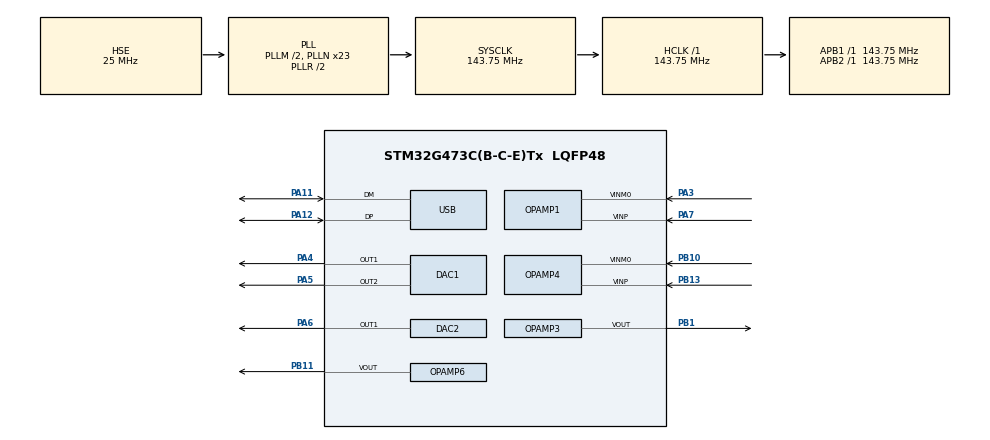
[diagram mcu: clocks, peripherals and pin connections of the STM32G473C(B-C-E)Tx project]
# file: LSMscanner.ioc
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ADC1.Channel-1\#ChannelRegularConversion=ADC_CHANNEL_VOPAMP1
ADC1.NbrOfConversionFlag=1
ADC1.OffsetNumber-1\#ChannelRegularConversion=ADC_OFFSET_NONE
ADC1.Rank-1\#ChannelRegularConversion=1
ADC1.SamplingTime-1\#ChannelRegularConversion=ADC_SAMPLETIME_2CYCLES_5
ADC1.master=1
ADC5.Channel-1\#ChannelRegularConversion=ADC_CHANNEL_VOPAMP4
ADC5.NbrOfConversionFlag=1
ADC5.OffsetNumber-1\#ChannelRegularConversion=ADC_OFFSET_NONE
ADC5.Rank-1\#ChannelRegularConversion=1
ADC5.SamplingTime-1\#ChannelRegularConversion=ADC_SAMPLETIME_2CYCLES_5
DAC1.DAC_Channel-DAC_OUT2=DAC_CHANNEL_2
DAC3.DAC_Channel-DAC_OUT2_Int=DAC_CHANNEL_2
Mcu.Family=STM32G4
Mcu.Name=STM32G473C(B-C-E)Tx
Mcu.Package=LQFP48
NVIC.PriorityGroup=NVIC_PRIORITYGROUP_4
NVIC.USB_LP_IRQn=true\:0\:0\:false\:false\:true\:false\:true\:true
PA11.Mode=Device
PA11.Signal=USB_DM
PA12.Mode=Device
PA12.Signal=USB_DP
PA13.Mode=Trace_Asynchronous_SW
PA13.Signal=SYS_JTMS-SWDIO
PA14.Mode=Trace_Asynchronous_SW
PA14.Signal=SYS_JTCK-SWCLK
PA3.Mode=PGA Internally connected_IO0_BIAS
PA3.Signal=OPAMP1_VINM0
PA4.Signal=COMP_DAC11_group
PA5.Signal=COMP_DAC12_group
PA6.Signal=COMP_DAC21_group
PA7.Mode=PGA Internally connected_IO0_BIAS
PA7.Signal=OPAMP1_VINP
PB1.Mode=Follower-DAC_OUT2-INP
PB1.Signal=OPAMP3_VOUT
PB10.Mode=PGA Internally connected_IO0_BIAS
PB10.Signal=OPAMP4_VINM0
PB11.Mode=Follower-DAC_OUT2-INP
PB11.Signal=OPAMP6_VOUT
PB13.Mode=PGA Internally connected_IO0_BIAS
PB13.Signal=OPAMP4_VINP
PB3.Mode=Trace_Asynchronous_SW
PB3.Signal=SYS_JTDO-SWO
PF0-OSC_IN.Mode=HSE-External-Oscillator
PF0-OSC_IN.Signal=RCC_OSC_IN
PF1-OSC_OUT.Mode=HSE-External-Oscillator
PF1-OSC_OUT.Signal=RCC_OSC_OUT
ProjectManager.HeapSize=0x200
ProjectManager.StackSize=0x400
ProjectManager.TargetToolchain=STM32CubeIDE
RCC.ADC12Freq_Value=143750000
RCC.ADC345Freq_Value=143750000
RCC.AHBFreq_Value=143750000
RCC.APB1Freq_Value=143750000
RCC.APB1TimFreq_Value=143750000
RCC.APB2Freq_Value=143750000
RCC.APB2TimFreq_Value=143750000
RCC.CortexFreq_Value=143750000
RCC.EXTERNAL_CLOCK_VALUE=12288000
RCC.HCLKFreq_Value=143750000
RCC.HSE_VALUE=25000000
RCC.HSI48_VALUE=48000000
RCC.HSI_VALUE=16000000
RCC.LSE_VALUE=32768
RCC.PLLM=RCC_PLLM_DIV2
RCC.PLLN=23
RCC.PLLQ=RCC_PLLQ_DIV6
RCC.PLLSourceVirtual=RCC_PLLSOURCE_HSE
RCC.SYSCLKFreq_VALUE=143750000
RCC.SYSCLKSource=RCC_SYSCLKSOURCE_PLLCLK
RCC.USBFreq_Value=47916666.666666664
RCC.VCOOutputFreq_Value=287500000
SH.COMP_DAC11_group.0=DAC1_OUT1,DAC_OUT1
SH.COMP_DAC12_group.0=DAC1_OUT2,DAC_OUT2
SH.COMP_DAC21_group.0=DAC2_OUT1,DAC_OUT1
TIM1.CounterMode=TIM_COUNTERMODE_UP
TIM1.PeriodNoDither=65535-1
TIM1.Prescaler=143.75-1
USB_DEVICE.CLASS_NAME_FS=CDC
USB_DEVICE.VirtualMode=Cdc
USB_DEVICE.VirtualModeFS=Cdc_FS
VP_ADC1_OPAMP_INTERNAL1.Mode=IN-OPAMP1
VP_ADC5_OPAMP_INTERNAL4.Mode=IN-OPAMP4
VP_DAC3_VS_DACI1.Mode=DAC_OUT1_Int
VP_DAC3_VS_DACI2.Mode=DAC_OUT2_Int
VP_TIM1_VS_ClockSourceINT.Mode=Internal
VP_USB_DEVICE_VS_USB_DEVICE_CDC_FS.Mode=CDC_FS
board=custom

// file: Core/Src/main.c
/* USER CODE BEGIN Header */
/**
  ******************************************************************************
  * @file           : main.c
  * @brief          : Main program body
  ******************************************************************************
  * @attention
  *
  * Copyright (c) 2023 STMicroelectronics.
  * All rights reserved.
  *
  * This software is licensed under terms that can be found in the LICENSE file
  * in the root directory of this software component.
  * If no LICENSE file comes with this software, it is provided AS-IS.
  *
  ******************************************************************************
  */
/* USER CODE END Header */
#include "main.h"
#include "usb_device.h"
#include <string.h>
#include <stdbool.h>
#include <math.h>
#include <ctype.h>
#include "usbd_cdc_if.h"
#include<stdio.h>
#include<stdlib.h>

ADC_HandleTypeDef hadc1;
ADC_HandleTypeDef hadc5;

DAC_HandleTypeDef hdac1;
DAC_HandleTypeDef hdac2;
DAC_HandleTypeDef hdac3;

OPAMP_HandleTypeDef hopamp1;
OPAMP_HandleTypeDef hopamp3;
OPAMP_HandleTypeDef hopamp4;
OPAMP_HandleTypeDef hopamp6;

TIM_HandleTypeDef htim1;

/* USER CODE BEGIN PV */
//1 -> int between 1 and 4095
uint16_t xRes = 200;
//2 -> int between 1 and 4095
uint16_t yRes = 200;
//3 -> int between 1 and 4095
uint16_t skipSteps = 1;

//4 -> int between 0 and 4095
uint16_t xOffset = 2000;
//5 -> int between 0 and 4095
uint16_t yOffset = 2000;
//8 -> int between 1 and 20
uint8_t adcAvg = 8;

//7 -> int between 0 and 2500
uint16_t laserPower = 2000;

int pgaGain = OPAMP_PGA_GAIN_2_OR_MINUS_1;

int scanOffsetX = 0;
int scanOffsetY = 0;

//uint8_t image[500][500]; //causes RAM overflow -> sadge I'll have to send line by line in the scan function (use uint16_t for kicks?)
/* USER CODE END PV */

void SystemClock_Config(void);
static void MX_GPIO_Init(void);
static void MX_ADC1_Init(void);
static void MX_ADC5_Init(void);
static void MX_DAC1_Init(void);
static void MX_DAC2_Init(void);
static void MX_DAC3_Init(void);
static void MX_OPAMP1_Init(void);
static void MX_OPAMP3_Init(void);
static void MX_OPAMP4_Init(void);
static void MX_OPAMP6_Init(void);
static void MX_TIM1_Init(void);

/* USER CODE BEGIN 0 */

//microsecond delay (not used)
//https://controllerstech.com/create-1-microsecond-delay-stm32/
void delay_us(uint16_t us)
{
	__HAL_TIM_SET_COUNTER(&htim1,0);
	while (__HAL_TIM_GET_COUNTER(&htim1) < us);
}

//USB cdc transmit
//https://github.com/alexeykosinov/Redirect-printf-to-USB-VCP-on-STM32H7-MCU
int _write(int file, char *ptr, int len) {
    static uint8_t rc = USBD_OK;

    do {
        rc = CDC_Transmit_FS((unsigned char*)ptr, len);
    } while (USBD_BUSY == rc);

    if (USBD_FAIL == rc) {
        /// NOTE: Should never reach here.
        /// TODO: Handle this error.
        return 0;
    }
    return len;
}

//USB cdc receive
uint8_t buffer[64];
bool newReceived;

//ADC
uint32_t analogRead(uint8_t channel)
{
	uint32_t ADCValue = 0;
	if (channel == 1) {
		  HAL_ADC_Start(&hadc1);
		  if (HAL_ADC_PollForConversion(&hadc1, 1000000) == HAL_OK) {
		      ADCValue = HAL_ADC_GetValue(&hadc1);
		  }
		  HAL_ADC_Stop(&hadc1);
	} else if (channel == 5) {
		  HAL_ADC_Start(&hadc5);
		  if (HAL_ADC_PollForConversion(&hadc5, 1000000) == HAL_OK) {
		      ADCValue = HAL_ADC_GetValue(&hadc5);
		  }
		  HAL_ADC_Stop(&hadc5);
	}

  return ADCValue;
}

//parse usb serial input
uint16_t getNum() {
	  uint16_t num = 0;
	  for (int i=1; i<=4; i++) {
		  if (isdigit(buffer[i])) { //only works if buffer isn't initialized with all zeros - shouldn't be
			  num *= 10;
			  num += buffer[i] - '0';
		  }
	  }
	  return num;
}

//fine focus
//return true for successful focus, false for not
void fineFocus() {
	int32_t currentAdc;
	int16_t topAdc = -10000;
	int16_t bottomAdc = 10000;
	int16_t topDac = 0;
	int16_t bottomDac = 0;
	int16_t middleDac;
	int8_t precision = 3;

	//set offsets
	HAL_DAC_SetValue(&hdac3, DAC_CHANNEL_1, DAC_ALIGN_12B_R, xOffset);
	HAL_DAC_SetValue(&hdac3, DAC_CHANNEL_2, DAC_ALIGN_12B_R, yOffset);

	//set laser power
	HAL_DAC_SetValue(&hdac2, DAC_CHANNEL_1, DAC_ALIGN_12B_R, laserPower);

	//reset fine focus
	HAL_DAC_SetValue(&hdac1, DAC_CHANNEL_1, DAC_ALIGN_12B_R, 0);

	//delay to settle
	HAL_Delay(100);

	for (int i=0; i<4096; i+=precision) { //can do +=5?
		HAL_DAC_SetValue(&hdac1, DAC_CHANNEL_1, DAC_ALIGN_12B_R, i);
		//delay_us(1000);
		HAL_Delay(2);
		currentAdc = 0;
		for (int a=1; a<=adcAvg; a++) { //adc averaging
			currentAdc += analogRead(5)-analogRead(1);
			delay_us(50);
		}
		currentAdc = (currentAdc/adcAvg);
		if (currentAdc > topAdc) {
			topAdc = currentAdc;
			topDac = i;
		} else if (currentAdc < bottomAdc) {
			bottomAdc = currentAdc;
			bottomDac = i;
		}
		//delay_us(1000); //give time for VCM to catch up - maybe not needed
		HAL_Delay(2);
		printf("%d,", i);
		printf("%d\r\n", currentAdc); //print to see curve
	}
	printf("Done\r\n");
	middleDac = ((topDac-bottomDac)/2)+bottomDac;

	for (int i = 4095; i >= middleDac; i--) { //offset middleDac-65
		HAL_DAC_SetValue(&hdac1, DAC_CHANNEL_1, DAC_ALIGN_12B_R, i); //is blocking?
		HAL_Delay(4);
		currentAdc = analogRead(5)-analogRead(1);
		if (i != middleDac) {
			printf("%d,", i);
			printf("%d\r\n", currentAdc); //print to see curve
		}
	}
	printf("Done\r\n"); //print to see curve
	/*
	int32_t distance;
	int32_t minDistance = 10000;
	uint16_t lowerDac;
	uint16_t higherDac;
	if (bottomDac < topDac) {
		lowerDac = bottomDac;
		higherDac = topDac;
	} else {
		lowerDac = topDac;
		higherDac = bottomDac;
	}

	for (int i = lowerDac; i <= higherDac; i+=precision) {
		HAL_DAC_SetValue(&hdac1, DAC_CHANNEL_1, DAC_ALIGN_12B_R, i);
		if (i <= lowerDac+1) {
			HAL_Delay(50);
		} else {
			HAL_Delay(2);
		}
		currentAdc = analogRead(5)-analogRead(1);
		//middle ADC value VS 0 as the target:
		//0: won't be offset by poor s-shape, but also won't account for OPU bias
		//ADC middle: will account for bias, but poor s-shape could make it unable to focus
		distance = 0-currentAdc;
		if (distance < 0) {
			distance *= -1;
		}
		if (distance < minDistance) { //what about noise?
			minDistance = distance;
		} else {
			HAL_DAC_SetValue(&hdac1, DAC_CHANNEL_1, DAC_ALIGN_12B_R, i-precision);
			HAL_Delay(10); //leave time to settle
			return topAdc-bottomAdc; //return difference, aka size of S-shape
		}
	}*/

}

//coarse focus
void coarseFocus() {
	uint32_t sum = 0;
	uint16_t minDac = 0;
	uint8_t precision = 3;
	uint16_t minSum = 10000;

	//set offsets
	HAL_DAC_SetValue(&hdac3, DAC_CHANNEL_1, DAC_ALIGN_12B_R, xOffset);
	HAL_DAC_SetValue(&hdac3, DAC_CHANNEL_2, DAC_ALIGN_12B_R, yOffset);

	//set fine focus to close-to-center to avoid center instability and coarse to start
	HAL_DAC_SetValue(&hdac1, DAC_CHANNEL_1, DAC_ALIGN_12B_R, 2800);
	HAL_DAC_SetValue(&hdac1, DAC_CHANNEL_2, DAC_ALIGN_12B_R, 0);

	//set laser power
	HAL_DAC_SetValue(&hdac2, DAC_CHANNEL_1, DAC_ALIGN_12B_R, laserPower);

	//delay to settle
	HAL_Delay(100);

	for (int i=0; i<4096; i+=precision) {
		HAL_DAC_SetValue(&hdac1, DAC_CHANNEL_2, DAC_ALIGN_12B_R, i);
		HAL_Delay(2);
		sum = 0;
		for (int a=1; a<=adcAvg; a++) {
			sum += analogRead(5)+analogRead(1);
			delay_us(50);
		}
		sum = (sum/adcAvg);
		if (sum < minSum) { //values get smaller as light increases (inverted)
			minSum = sum;
			minDac = i;
		}
		HAL_Delay(2); //give time for VCM to catch up - maybe not needed
		printf("%d,", i);
		printf("%d\r\n", sum); //print to see curve
	}
	printf("Done\r\n");

	//printf("%d\r\n", minDac);
	for (int i = 4095; i >= minDac; i-=precision) {
		HAL_DAC_SetValue(&hdac1, DAC_CHANNEL_2, DAC_ALIGN_12B_R, i);
		HAL_Delay(4);
		sum = analogRead(5)+analogRead(1);
		if (i != minDac) {
			printf("%d,", i);
			printf("%d\r\n", sum); //print to see curve
		}
	}
	printf("Done\r\n");

	HAL_Delay(20); //time to settle
	//maybe print DAC value at max, to know general position (aka make sure it's not at a max?)
}

//main scan
void scan(uint8_t scanType) {
	int raw;
	unsigned char row[(xRes*6)+1]; //each number can be 5 characters long (4+sign), and there's a delimiter following. The +4 is for the \n
	//unsigned char row[xRes*4]; //max 8192 = 4 digits long
	uint16_t usedCounter = 0; //keep track of how much of the array has been filled

	//set laser power
	HAL_DAC_SetValue(&hdac2, DAC_CHANNEL_1, DAC_ALIGN_12B_R, laserPower);

	HAL_Delay(1);
	//printf("starting scan loop\r\n"); //disabling so I can straight copy values
	for (int y=0; y<yRes; y++) {
		  //memset(row, 0, sizeof row); //see if this fixes corruption - doesn't work -- no longer needed?
		  HAL_DAC_SetValue(&hdac3, DAC_CHANNEL_2, DAC_ALIGN_12B_R, scanOffsetY+(y*skipSteps));
		  HAL_Delay(5+(yRes*skipSteps)/50); //8ms per pixel
		  //delay_us(20);
		  usedCounter = 0;
		  for (int x=0; x<xRes; x++) {
			  raw = 0;
			  HAL_DAC_SetValue(&hdac3, DAC_CHANNEL_1, DAC_ALIGN_12B_R, scanOffsetX+(x*skipSteps));
			  if (x <= 1) {
				  HAL_Delay(xRes/3); //delay based on resolution when resetting
			  } else {
				  //math below gives about 2ms step covered, regardless of other variables --> needs work
				  HAL_Delay(2+((xRes*skipSteps)/200)); //I need a setup that calculates based on time-per-pixel, which should stay the same, whether it's skipped or not
			  }
			  //delay_us(500);
			  for (int i=1; i<=adcAvg; i++) {
				  if (scanType == 2) {
					  raw += analogRead(5)-analogRead(1); //scan FES instead
				  } else {
					  raw += analogRead(5)+analogRead(1);
				  }
				  delay_us(50);
			  }
			  raw = (raw/adcAvg);
			  if (scanType == 1) {
				  raw = 8191 - raw; //invert the image
			  }
			  //printf("%d\r\n", raw);
			  if (x+1 != xRes) {
				  usedCounter += sprintf(row+usedCounter, "%d,", raw);
			  } else {
				  usedCounter += sprintf(row+usedCounter, "%d\r\n", raw);
			  }
		  }

		  HAL_Delay(xRes/40); //needs some time
		  static uint8_t rc = USBD_OK;
		  do {
		          rc = CDC_Transmit_FS(row, usedCounter);
		  } while (USBD_BUSY == rc);

		  if (USBD_FAIL == rc) {
			  printf("Failed to send image\r\n");
			  return;
		  }
		  HAL_Delay(xRes/40);
	}
}

/* USER CODE END 0 */

int main(void)
{

  /* MCU Configuration--------------------------------------------------------*/

  /* Reset of all peripherals, Initializes the Flash interface and the Systick. */
  HAL_Init();

  /* Configure the system clock */
  SystemClock_Config();

  /* Initialize all configured peripherals */
  MX_GPIO_Init();
  MX_ADC1_Init();
  MX_ADC5_Init();
  MX_DAC1_Init();
  MX_DAC2_Init();
  MX_DAC3_Init();
  MX_OPAMP1_Init();
  MX_OPAMP3_Init();
  MX_OPAMP4_Init();
  MX_OPAMP6_Init();
  MX_USB_Device_Init();
  MX_TIM1_Init();
  /* USER CODE BEGIN 2 */
  //DAC setup
  HAL_DAC_Start(&hdac1, DAC_CHANNEL_1);
  HAL_DAC_Start(&hdac1, DAC_CHANNEL_2);
  HAL_DAC_Start(&hdac2, DAC_CHANNEL_1);
  HAL_DAC_Start(&hdac3, DAC_CHANNEL_1);
  HAL_DAC_Start(&hdac3, DAC_CHANNEL_2);

  //ADC setup
  HAL_ADC_Start(&hadc1);
  HAL_ADC_Start(&hadc5);

  //opamp setup for DAC outputs
  HAL_OPAMP_Start(&hopamp3);
  HAL_OPAMP_Start(&hopamp6);

  //opamp setup for ADC inputs
  HAL_OPAMP_Start(&hopamp1);
  HAL_OPAMP_Start(&hopamp4);

  //timer setup
  HAL_TIM_Base_Start(&htim1);

  /* USER CODE END 2 */

  /* Infinite loop */
  while (1)
  {

	  //turn off between commands
	  HAL_DAC_SetValue(&hdac2, DAC_CHANNEL_1, DAC_ALIGN_12B_R, 0);

	  //TODO: Have interrupt to kill program if USB is disconnected?
	  //TODO: change ADC opamps to "fast mode"?

	  //All DACS
	  //out1-ch1 = vcm-fine
	  //out1-ch2 = vcm-coarse
	  //out2-ch1 = laser
	  //out3-ch1 (opamp3) = vcm-x
	  //out3-ch2 (opamp6) = vcm-y

	  //protocol:
	  //first char -> 0-9:
	  //0=start scan
	  //1=change x resolution
	  //2=change y resolution
	  //3=change number of steps to skip (aka zoom -> steps to skip * resolution = scan area out of 4096)
	  //4=change X offset
	  //5=change Y offset
	  //6=change opamp gain
	  //7=change laser power
	  //8=change number of ADC samples to average - use DMA later
	  //9=fine or coarse focus
	  //*10=change whether to output FES or SUM or both (aka just the two ADC values raw) - not needed yet

	  //After leading number, rest is dependent on choice
	  //setup with default values
	  //0 -> no input after

	  //missing vars are above

	  //6 -> int between 0 and 5 (0=2x, 1=4x, 2=8x, 3=16x, 4=32x, 5=64x)
	  uint8_t adcGain = 1;

	  //buffer[0]
	  uint8_t start;

	  //value of following data after buffer[0]
	  uint16_t num = 0;

	  //missing is above
	  //9 -> (1=fine focus, 2=coarse focus).

	  //when starting a scan, do checks to make sure you aren't exceeding 4096 for any VCM output, and not exceeding 2500 for laser input.
	  //avoid floats?
	  if (newReceived) {
		  //printf("Received\r\n");
		  //hangs on line below -> when I send loads of 0s, it only shows one in the buffer.
		  if (buffer[0]=='0') {
				  start = 0;
		  } else {
			  start = buffer[0]-'0';
		  }
		  num = getNum();
		  switch (start) {
			case 0:
				//printf("Scanning\r\n");
				scanOffsetX = xOffset - (xRes * skipSteps / 2); // set focus to center of scanned image (make sure > 0)
				scanOffsetY = yOffset - (yRes * skipSteps / 2);

				if (scanOffsetX < 4096 && scanOffsetY < 4096) { //doesn't go to else properly
					if (scanOffsetX >= 0 && scanOffsetY >= 0) {
						if (num == 1 || num == 2) {
							//printf("passed checks\r\n");
						    //call scan function
						    //might have issues sending if char count is over 512 in the X axis (maybe break into chunks if an issue)
							scan(num);

							HAL_Delay(1);
							//printf("done\r\n");
						}
					} else {
						printf("Offset too small\r\n");
					}
				} else {
				  	printf("Dimensions too large\r\n");
				}
				break;
			case 1:
				if (num < 4096 && num > 0) {
					xRes = num;
				}
				//printf("%d\r\n", xRes);
				break;
			case 2:
				if (num < 4096 && num > 0) {
					yRes = num;
				}
				//printf("%d\r\n", yRes);
				break;
			case 3:
				if (num < 4096 && num > 0) {
					skipSteps = num;
				}
				//printf("%d\r\n", skipSteps);
				break;
			case 4:
				//apply offsets here so that focus is on the correct scan area, or apply in focus functions
				if (num < 4096) {
					xOffset = num;
				}
				//printf("%d\r\n", xOffset);
				break;
			case 5:
				if (num < 4096) {
					yOffset = num;
				}
				//printf("%d\r\n", yOffset);
				break;
			case 6:
			    if (num <= 5) {
				  adcGain = num;
				  HAL_OPAMP_Stop(&hopamp1);
				  HAL_OPAMP_Stop(&hopamp4);
				  switch (adcGain) {
					  case 0:
					    pgaGain = OPAMP_PGA_GAIN_2_OR_MINUS_1;
					    break;
					  case 1:
					    pgaGain = OPAMP_PGA_GAIN_4_OR_MINUS_3;
					    break;
					  case 2:
					    pgaGain = OPAMP_PGA_GAIN_8_OR_MINUS_7;
					    break;
					  case 3:
					    pgaGain = OPAMP_PGA_GAIN_16_OR_MINUS_15;
					    break;
					  case 4:
					    pgaGain = OPAMP_PGA_GAIN_32_OR_MINUS_31;
					    break;
					  case 5:
					    pgaGain = OPAMP_PGA_GAIN_64_OR_MINUS_63;
					    break;
				  }
				  HAL_Delay(2); //just to give it time to shut down?
				  MX_OPAMP1_Init();
				  MX_OPAMP4_Init();
				  HAL_Delay(2); //just to give it time to start up?
				  HAL_OPAMP_Start(&hopamp1);
				  HAL_OPAMP_Start(&hopamp4);
			    }
			    //printf("%d\r\n", adcGain);
			    break;
			case 7:
				if (num <= 2500) {
					laserPower = num;
					HAL_DAC_SetValue(&hdac2, DAC_CHANNEL_1, DAC_ALIGN_12B_R, laserPower); //don't need
				}
				//printf("%d\r\n", laserPower);
				break;
			case 8:
				if (num <= 20 && num != 0) {
					adcAvg = num;
				}
				//printf("%d\r\n", adcAvg);
				break;
			case 9:
				if (num == 1) {
					fineFocus();
				} else if (num == 2) {
					coarseFocus();
				} else {
					printf("Bad input\r\n");
				}
				break;
		  }

		  newReceived = false;
	  }
	  HAL_Delay(10); //10ms polling delay

	}
}

void SystemClock_Config(void)
{
  RCC_OscInitTypeDef RCC_OscInitStruct = {0};
  RCC_ClkInitTypeDef RCC_ClkInitStruct = {0};

  /** Configure the main internal regulator output voltage
  */
  HAL_PWREx_ControlVoltageScaling(PWR_REGULATOR_VOLTAGE_SCALE1);

  /** Initializes the RCC Oscillators according to the specified parameters
  * in the RCC_OscInitTypeDef structure.
  */
  RCC_OscInitStruct.OscillatorType = RCC_OSCILLATORTYPE_HSE;
  RCC_OscInitStruct.HSEState = RCC_HSE_ON;
  RCC_OscInitStruct.PLL.PLLState = RCC_PLL_ON;
  RCC_OscInitStruct.PLL.PLLSource = RCC_PLLSOURCE_HSE;
  RCC_OscInitStruct.PLL.PLLM = RCC_PLLM_DIV2;
  RCC_OscInitStruct.PLL.PLLN = 23;
  RCC_OscInitStruct.PLL.PLLP = RCC_PLLP_DIV2;
  RCC_OscInitStruct.PLL.PLLQ = RCC_PLLQ_DIV6;
  RCC_OscInitStruct.PLL.PLLR = RCC_PLLR_DIV2;
  if (HAL_RCC_OscConfig(&RCC_OscInitStruct) != HAL_OK)
  {
    Error_Handler();
  }

  /** Initializes the CPU, AHB and APB buses clocks
  */
  RCC_ClkInitStruct.ClockType = RCC_CLOCKTYPE_HCLK|RCC_CLOCKTYPE_SYSCLK
                              |RCC_CLOCKTYPE_PCLK1|RCC_CLOCKTYPE_PCLK2;
  RCC_ClkInitStruct.SYSCLKSource = RCC_SYSCLKSOURCE_PLLCLK;
  RCC_ClkInitStruct.AHBCLKDivider = RCC_SYSCLK_DIV1;
  RCC_ClkInitStruct.APB1CLKDivider = RCC_HCLK_DIV1;
  RCC_ClkInitStruct.APB2CLKDivider = RCC_HCLK_DIV1;

  if (HAL_RCC_ClockConfig(&RCC_ClkInitStruct, FLASH_LATENCY_4) != HAL_OK)
  {
    Error_Handler();
  }
}

static void MX_ADC1_Init(void)
{

  ADC_MultiModeTypeDef multimode = {0};
  ADC_ChannelConfTypeDef sConfig = {0};

  /** Common config
  */
  hadc1.Instance = ADC1;
  hadc1.Init.ClockPrescaler = ADC_CLOCK_SYNC_PCLK_DIV4;
  hadc1.Init.Resolution = ADC_RESOLUTION_12B;
  hadc1.Init.DataAlign = ADC_DATAALIGN_RIGHT;
  hadc1.Init.GainCompensation = 0;
  hadc1.Init.ScanConvMode = ADC_SCAN_DISABLE;
  hadc1.Init.EOCSelection = ADC_EOC_SINGLE_CONV;
  hadc1.Init.LowPowerAutoWait = DISABLE;
  hadc1.Init.ContinuousConvMode = DISABLE;
  hadc1.Init.NbrOfConversion = 1;
  hadc1.Init.DiscontinuousConvMode = DISABLE;
  hadc1.Init.ExternalTrigConv = ADC_SOFTWARE_START;
  hadc1.Init.ExternalTrigConvEdge = ADC_EXTERNALTRIGCONVEDGE_NONE;
  hadc1.Init.DMAContinuousRequests = DISABLE;
  hadc1.Init.Overrun = ADC_OVR_DATA_PRESERVED;
  hadc1.Init.OversamplingMode = DISABLE;
  if (HAL_ADC_Init(&hadc1) != HAL_OK)
  {
    Error_Handler();
  }

  /** Configure the ADC multi-mode
  */
  multimode.Mode = ADC_MODE_INDEPENDENT;
  if (HAL_ADCEx_MultiModeConfigChannel(&hadc1, &multimode) != HAL_OK)
  {
    Error_Handler();
  }

  /** Configure Regular Channel
  */
  sConfig.Channel = ADC_CHANNEL_VOPAMP1;
  sConfig.Rank = ADC_REGULAR_RANK_1;
  sConfig.SamplingTime = ADC_SAMPLETIME_2CYCLES_5;
  sConfig.SingleDiff = ADC_SINGLE_ENDED;
  sConfig.OffsetNumber = ADC_OFFSET_NONE;
  sConfig.Offset = 0;
  if (HAL_ADC_ConfigChannel(&hadc1, &sConfig) != HAL_OK)
  {
    Error_Handler();
  }

}

static void MX_ADC5_Init(void)
{

  ADC_ChannelConfTypeDef sConfig = {0};

  /** Common config
  */
  hadc5.Instance = ADC5;
  hadc5.Init.ClockPrescaler = ADC_CLOCK_SYNC_PCLK_DIV4;
  hadc5.Init.Resolution = ADC_RESOLUTION_12B;
  hadc5.Init.DataAlign = ADC_DATAALIGN_RIGHT;
  hadc5.Init.GainCompensation = 0;
  hadc5.Init.ScanConvMode = ADC_SCAN_DISABLE;
  hadc5.Init.EOCSelection = ADC_EOC_SINGLE_CONV;
  hadc5.Init.LowPowerAutoWait = DISABLE;
  hadc5.Init.ContinuousConvMode = DISABLE;
  hadc5.Init.NbrOfConversion = 1;
  hadc5.Init.DiscontinuousConvMode = DISABLE;
  hadc5.Init.ExternalTrigConv = ADC_SOFTWARE_START;
  hadc5.Init.ExternalTrigConvEdge = ADC_EXTERNALTRIGCONVEDGE_NONE;
  hadc5.Init.DMAContinuousRequests = DISABLE;
  hadc5.Init.Overrun = ADC_OVR_DATA_PRESERVED;
  hadc5.Init.OversamplingMode = DISABLE;
  if (HAL_ADC_Init(&hadc5) != HAL_OK)
  {
    Error_Handler();
  }

  /** Configure Regular Channel
  */
  sConfig.Channel = ADC_CHANNEL_VOPAMP4;
  sConfig.Rank = ADC_REGULAR_RANK_1;
  sConfig.SamplingTime = ADC_SAMPLETIME_2CYCLES_5;
  sConfig.SingleDiff = ADC_SINGLE_ENDED;
  sConfig.OffsetNumber = ADC_OFFSET_NONE;
  sConfig.Offset = 0;
  if (HAL_ADC_ConfigChannel(&hadc5, &sConfig) != HAL_OK)
  {
    Error_Handler();
  }

}

static void MX_DAC1_Init(void)
{

  DAC_ChannelConfTypeDef sConfig = {0};

  /** DAC Initialization
  */
  hdac1.Instance = DAC1;
  if (HAL_DAC_Init(&hdac1) != HAL_OK)
  {
    Error_Handler();
  }

  /** DAC channel OUT1 config
  */
  sConfig.DAC_HighFrequency = DAC_HIGH_FREQUENCY_INTERFACE_MODE_AUTOMATIC;
  sConfig.DAC_DMADoubleDataMode = DISABLE;
  sConfig.DAC_SignedFormat = DISABLE;
  sConfig.DAC_SampleAndHold = DAC_SAMPLEANDHOLD_DISABLE;
  sConfig.DAC_Trigger = DAC_TRIGGER_NONE;
  sConfig.DAC_Trigger2 = DAC_TRIGGER_NONE;
  sConfig.DAC_OutputBuffer = DAC_OUTPUTBUFFER_ENABLE;
  sConfig.DAC_ConnectOnChipPeripheral = DAC_CHIPCONNECT_EXTERNAL;
  sConfig.DAC_UserTrimming = DAC_TRIMMING_FACTORY;
  if (HAL_DAC_ConfigChannel(&hdac1, &sConfig, DAC_CHANNEL_1) != HAL_OK)
  {
    Error_Handler();
  }

  /** DAC channel OUT2 config
  */
  if (HAL_DAC_ConfigChannel(&hdac1, &sConfig, DAC_CHANNEL_2) != HAL_OK)
  {
    Error_Handler();
  }

}

static void MX_DAC2_Init(void)
{

  DAC_ChannelConfTypeDef sConfig = {0};

  /** DAC Initialization
  */
  hdac2.Instance = DAC2;
  if (HAL_DAC_Init(&hdac2) != HAL_OK)
  {
    Error_Handler();
  }

  /** DAC channel OUT1 config
  */
  sConfig.DAC_HighFrequency = DAC_HIGH_FREQUENCY_INTERFACE_MODE_AUTOMATIC;
  sConfig.DAC_DMADoubleDataMode = DISABLE;
  sConfig.DAC_SignedFormat = DISABLE;
  sConfig.DAC_SampleAndHold = DAC_SAMPLEANDHOLD_DISABLE;
  sConfig.DAC_Trigger = DAC_TRIGGER_NONE;
  sConfig.DAC_Trigger2 = DAC_TRIGGER_NONE;
  sConfig.DAC_OutputBuffer = DAC_OUTPUTBUFFER_ENABLE;
  sConfig.DAC_ConnectOnChipPeripheral = DAC_CHIPCONNECT_EXTERNAL;
  sConfig.DAC_UserTrimming = DAC_TRIMMING_FACTORY;
  if (HAL_DAC_ConfigChannel(&hdac2, &sConfig, DAC_CHANNEL_1) != HAL_OK)
  {
    Error_Handler();
  }

}

static void MX_DAC3_Init(void)
{

  DAC_ChannelConfTypeDef sConfig = {0};

  /** DAC Initialization
  */
  hdac3.Instance = DAC3;
  if (HAL_DAC_Init(&hdac3) != HAL_OK)
  {
    Error_Handler();
  }

  /** DAC channel OUT1 config
  */
  sConfig.DAC_HighFrequency = DAC_HIGH_FREQUENCY_INTERFACE_MODE_AUTOMATIC;
  sConfig.DAC_DMADoubleDataMode = DISABLE;
  sConfig.DAC_SignedFormat = DISABLE;
  sConfig.DAC_SampleAndHold = DAC_SAMPLEANDHOLD_DISABLE;
  sConfig.DAC_Trigger = DAC_TRIGGER_NONE;
  sConfig.DAC_Trigger2 = DAC_TRIGGER_NONE;
  sConfig.DAC_OutputBuffer = DAC_OUTPUTBUFFER_DISABLE;
  sConfig.DAC_ConnectOnChipPeripheral = DAC_CHIPCONNECT_INTERNAL;
  sConfig.DAC_UserTrimming = DAC_TRIMMING_FACTORY;
  if (HAL_DAC_ConfigChannel(&hdac3, &sConfig, DAC_CHANNEL_1) != HAL_OK)
  {
    Error_Handler();
  }

  /** DAC channel OUT2 config
  */
  if (HAL_DAC_ConfigChannel(&hdac3, &sConfig, DAC_CHANNEL_2) != HAL_OK)
  {
    Error_Handler();
  }

}

static void MX_OPAMP1_Init(void)
{

  hopamp1.Instance = OPAMP1;
  hopamp1.Init.PowerMode = OPAMP_POWERMODE_NORMALSPEED;
  hopamp1.Init.Mode = OPAMP_PGA_MODE;
  hopamp1.Init.NonInvertingInput = OPAMP_NONINVERTINGINPUT_IO2;
  hopamp1.Init.InternalOutput = ENABLE;
  hopamp1.Init.TimerControlledMuxmode = OPAMP_TIMERCONTROLLEDMUXMODE_DISABLE;
  hopamp1.Init.PgaConnect = OPAMP_PGA_CONNECT_INVERTINGINPUT_IO0_BIAS;
  hopamp1.Init.PgaGain = pgaGain;
  hopamp1.Init.UserTrimming = OPAMP_TRIMMING_FACTORY;
  if (HAL_OPAMP_Init(&hopamp1) != HAL_OK)
  {
    Error_Handler();
  }

}

static void MX_OPAMP3_Init(void)
{

  hopamp3.Instance = OPAMP3;
  hopamp3.Init.PowerMode = OPAMP_POWERMODE_NORMALSPEED;
  hopamp3.Init.Mode = OPAMP_FOLLOWER_MODE;
  hopamp3.Init.NonInvertingInput = OPAMP_NONINVERTINGINPUT_DAC;
  hopamp3.Init.InternalOutput = DISABLE;
  hopamp3.Init.TimerControlledMuxmode = OPAMP_TIMERCONTROLLEDMUXMODE_DISABLE;
  hopamp3.Init.UserTrimming = OPAMP_TRIMMING_FACTORY;
  if (HAL_OPAMP_Init(&hopamp3) != HAL_OK)
  {
    Error_Handler();
  }

}

static void MX_OPAMP4_Init(void)
{

  hopamp4.Instance = OPAMP4;
  hopamp4.Init.PowerMode = OPAMP_POWERMODE_NORMALSPEED;
  hopamp4.Init.Mode = OPAMP_PGA_MODE;
  hopamp4.Init.NonInvertingInput = OPAMP_NONINVERTINGINPUT_IO0;
  hopamp4.Init.InternalOutput = ENABLE;
  hopamp4.Init.TimerControlledMuxmode = OPAMP_TIMERCONTROLLEDMUXMODE_DISABLE;
  hopamp4.Init.PgaConnect = OPAMP_PGA_CONNECT_INVERTINGINPUT_IO0_BIAS;
  hopamp4.Init.PgaGain = pgaGain;
  hopamp4.Init.UserTrimming = OPAMP_TRIMMING_FACTORY;
  if (HAL_OPAMP_Init(&hopamp4) != HAL_OK)
  {
    Error_Handler();
  }

}

static void MX_OPAMP6_Init(void)
{

  hopamp6.Instance = OPAMP6;
  hopamp6.Init.PowerMode = OPAMP_POWERMODE_NORMALSPEED;
  hopamp6.Init.Mode = OPAMP_FOLLOWER_MODE;
  hopamp6.Init.NonInvertingInput = OPAMP_NONINVERTINGINPUT_DAC;
  hopamp6.Init.InternalOutput = DISABLE;
  hopamp6.Init.TimerControlledMuxmode = OPAMP_TIMERCONTROLLEDMUXMODE_DISABLE;
  hopamp6.Init.UserTrimming = OPAMP_TRIMMING_FACTORY;
  if (HAL_OPAMP_Init(&hopamp6) != HAL_OK)
  {
    Error_Handler();
  }

}

static void MX_TIM1_Init(void)
{

  TIM_ClockConfigTypeDef sClockSourceConfig = {0};
  TIM_MasterConfigTypeDef sMasterConfig = {0};

  htim1.Instance = TIM1;
  htim1.Init.Prescaler = 143.75-1;
  htim1.Init.CounterMode = TIM_COUNTERMODE_UP;
  htim1.Init.Period = 65535;
  htim1.Init.ClockDivision = TIM_CLOCKDIVISION_DIV1;
  htim1.Init.RepetitionCounter = 0;
  htim1.Init.AutoReloadPreload = TIM_AUTORELOAD_PRELOAD_DISABLE;
  if (HAL_TIM_Base_Init(&htim1) != HAL_OK)
  {
    Error_Handler();
  }
  sClockSourceConfig.ClockSource = TIM_CLOCKSOURCE_INTERNAL;
  if (HAL_TIM_ConfigClockSource(&htim1, &sClockSourceConfig) != HAL_OK)
  {
    Error_Handler();
  }
  sMasterConfig.MasterOutputTrigger = TIM_TRGO_RESET;
  sMasterConfig.MasterOutputTrigger2 = TIM_TRGO2_RESET;
  sMasterConfig.MasterSlaveMode = TIM_MASTERSLAVEMODE_DISABLE;
  if (HAL_TIMEx_MasterConfigSynchronization(&htim1, &sMasterConfig) != HAL_OK)
  {
    Error_Handler();
  }

}

static void MX_GPIO_Init(void)
{

  /* GPIO Ports Clock Enable */
  __HAL_RCC_GPIOF_CLK_ENABLE();
  __HAL_RCC_GPIOA_CLK_ENABLE();
  __HAL_RCC_GPIOB_CLK_ENABLE();

}

void Error_Handler(void)
{
  __disable_irq();
  while (1)
  {
  }
}
